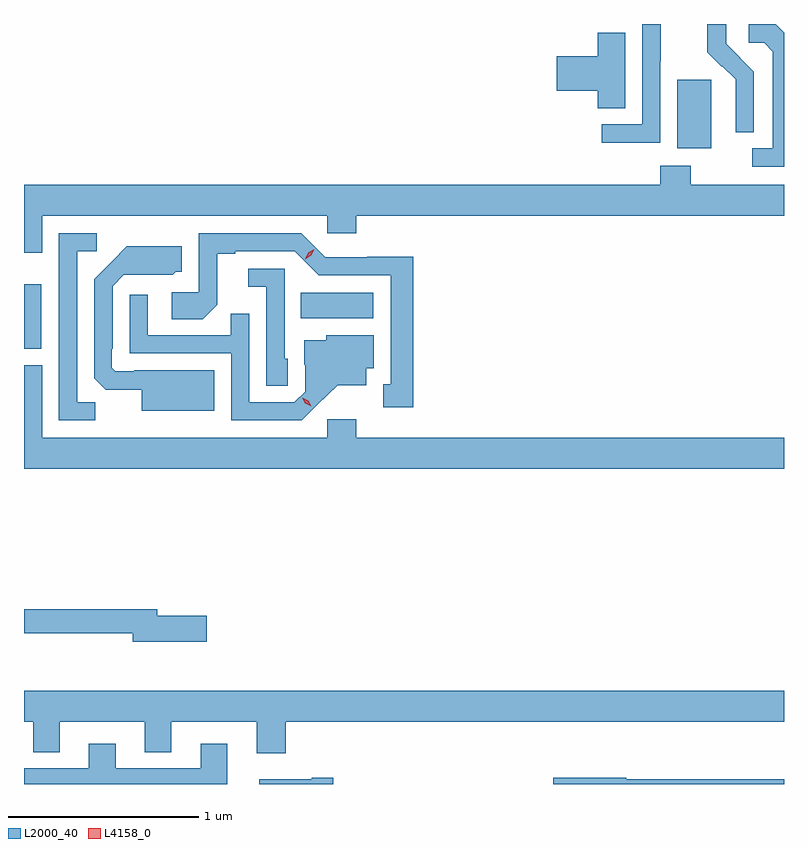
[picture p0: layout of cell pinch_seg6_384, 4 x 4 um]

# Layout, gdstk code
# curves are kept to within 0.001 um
import gdstk
lib = gdstk.Library(unit=1e-6, precision=1e-09)
def R(c, l, rs):  # rectangles x0, y0, x1, y1
    for r in rs: c.add(gdstk.rectangle(r[:2], r[2:], *l))
def P(c, l, *ps):  # polygons
    for p in ps: c.add(gdstk.Polygon(p, *l))
L2000_40 = (2000, 40)
L4158_0 = (4158, 0)

pinch_seg6_384 = lib.new_cell('pinch_seg6_384')
R(pinch_seg6_384, L2000_40, [(672.485,925.325,672.577,925.663), (673.942,925.484,674.323,925.618), (675.923,926.378,676.102,926.739)])
P(pinch_seg6_384, L2000_40, [(676.326,926.782),(676.18,926.93),(676.18,927.027),(676.182,927.027),(676.182,927.033),(676.081,927.033),(676.081,926.885),(676.158,926.808),(676.161,926.811),(676.232,926.741),(676.232,926.618),(676.23,926.618),(676.23,926.464),(676.326,926.464)],
  [(675.834,926.836),(675.837,926.836),(675.837,927.033),(675.738,927.033),(675.738,926.505),(675.525,926.505),(675.525,926.407),(675.834,926.407)],
  [(676.485,926.988),(676.442,927.031),(676.299,927.031),(676.299,926.934),(676.38,926.934),(676.427,926.887),(676.427,926.379),(676.317,926.379),(676.317,926.283),(676.485,926.283)],
  [(675.649,926.987),(675.506,926.987),(675.506,926.864),(675.288,926.864),(675.288,926.681),(675.506,926.681),(675.506,926.59),(675.649,926.59)],
  [(672.58,926.024),(674.082,926.024),(674.082,925.931),(674.234,925.931),(674.234,926.024),(676.485,926.024),(676.485,926.188),(675.993,926.188),(675.993,926.287),(675.833,926.287),(675.833,926.188),(672.485,926.188),(672.485,925.83),(672.58,925.83)],
  [(674.533,925.808),(674.292,925.808),(674.292,925.806),(674.07,925.806),(673.944,925.932),(673.404,925.932),(673.404,925.62),(673.263,925.62),(673.263,925.48),(673.427,925.48),(673.503,925.556),(673.503,925.824),(673.597,925.824),(673.597,925.836),(673.911,925.836),(674.037,925.71),(674.414,925.71),(674.414,925.137),(674.375,925.137),(674.375,925.017),(674.533,925.017)],
  [(672.861,925.043),(672.765,925.043),(672.765,925.836),(672.868,925.836),(672.868,925.932),(672.669,925.932),(672.669,924.948),(672.861,924.948)],
  [(673.486,925.21),(673.066,925.21),(673.066,925.206),(672.966,925.206),(672.948,925.224),(672.948,925.324),(672.951,925.324),(672.951,925.653),(673.011,925.713),(673.268,925.712),(673.284,925.728),(673.315,925.728),(673.315,925.864),(673.027,925.864),(672.855,925.69),(672.855,925.168),(672.914,925.109),(673.106,925.109),(673.106,924.998),(673.486,924.998)],
  [(673.872,925.272),(673.857,925.272),(673.857,925.746),(673.665,925.746),(673.665,925.649),(673.761,925.649),(673.761,925.129),(673.872,925.129)],
  [(674.005,925.005),(674.135,925.133),(674.287,925.133),(674.287,925.22),(674.326,925.22),(674.326,925.396),(674.076,925.396),(674.076,925.369),(673.961,925.369),(673.961,925.24),(673.965,925.24),(673.965,925.098),(673.908,925.041),(673.671,925.041),(673.671,925.508),(673.573,925.508),(673.573,925.395),(673.137,925.395),(673.137,925.609),(673.041,925.609),(673.041,925.299),(673.575,925.299),(673.575,924.948),(673.948,924.948)],
  [(676.485,924.856),(674.234,924.856),(674.234,924.952),(674.082,924.952),(674.082,924.856),(672.58,924.856),(672.58,925.237),(672.485,925.237),(672.485,924.692),(676.485,924.692)],
  [(673.447,923.918),(673.186,923.918),(673.186,923.954),(672.485,923.954),(672.485,923.826),(673.058,923.826),(673.058,923.783),(673.447,923.783)],
  [(673.862,923.36),(676.485,923.36),(676.485,923.524),(672.485,923.524),(672.485,923.36),(672.533,923.36),(672.533,923.2),(672.673,923.2),(672.673,923.36),(673.121,923.36),(673.121,923.2),(673.261,923.2),(673.261,923.36),(673.709,923.36),(673.709,923.196),(673.862,923.196)],
  [(673.555,923.245),(673.415,923.245),(673.415,923.115),(672.967,923.115),(672.967,923.245),(672.827,923.245),(672.827,923.115),(672.485,923.115),(672.485,923.033),(673.555,923.033)],
  [(674.113,923.067),(674,923.067),(674,923.059),(673.724,923.059),(673.724,923.033),(674.113,923.033)],
  [(676.485,923.059),(675.654,923.059),(675.654,923.067),(675.27,923.067),(675.27,923.033),(676.485,923.033)])
P(pinch_seg6_384, L4158_0, [(673.964,925.796),(673.964,925.797),(673.981,925.829),(674.013,925.848),(674.013,925.848),(674.013,925.848),(673.996,925.815),(673.964,925.796)],
  [(673.996,925.02),(673.966,925.036),(673.949,925.065),(673.949,925.066),(673.95,925.066),(673.98,925.05),(673.996,925.02),(673.996,925.02)])

lib.write_gds('pinch_seg6_384.gds')
